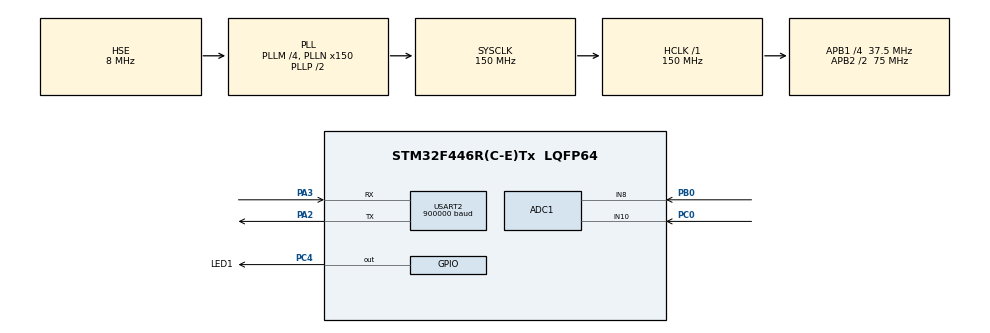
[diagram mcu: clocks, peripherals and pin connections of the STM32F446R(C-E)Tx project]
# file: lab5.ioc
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ADC1.Channel-11\#ChannelRegularConversion=ADC_CHANNEL_10
ADC1.Channel-12\#ChannelRegularConversion=ADC_CHANNEL_8
ADC1.InjNumberOfConversion=0
ADC1.NbrOfConversion=2
ADC1.NbrOfConversionFlag=1
ADC1.Rank-11\#ChannelRegularConversion=1
ADC1.Rank-12\#ChannelRegularConversion=2
ADC1.SamplingTime-11\#ChannelRegularConversion=ADC_SAMPLETIME_3CYCLES
ADC1.SamplingTime-12\#ChannelRegularConversion=ADC_SAMPLETIME_3CYCLES
ADC1.ScanConvMode=ENABLE
ADC1.master=1
Dma.ADC1.0.Direction=DMA_PERIPH_TO_MEMORY
Dma.ADC1.0.FIFOMode=DMA_FIFOMODE_DISABLE
Dma.ADC1.0.Instance=DMA2_Stream0
Dma.ADC1.0.MemDataAlignment=DMA_MDATAALIGN_HALFWORD
Dma.ADC1.0.MemInc=DMA_MINC_ENABLE
Dma.ADC1.0.Mode=DMA_NORMAL
Dma.ADC1.0.PeriphDataAlignment=DMA_PDATAALIGN_HALFWORD
Dma.ADC1.0.PeriphInc=DMA_PINC_DISABLE
Dma.ADC1.0.Priority=DMA_PRIORITY_LOW
Dma.Request0=ADC1
Mcu.Family=STM32F4
Mcu.Name=STM32F446R(C-E)Tx
Mcu.Package=LQFP64
NVIC.ADC_IRQn=true\:0\:0\:false\:false\:true\:true\:true\:true
NVIC.DMA2_Stream0_IRQn=true\:0\:0\:false\:false\:true\:false\:true\:true
NVIC.PriorityGroup=NVIC_PRIORITYGROUP_4
NVIC.TIM1_UP_TIM10_IRQn=true\:0\:0\:false\:false\:true\:true\:true\:true
NVIC.USART2_IRQn=true\:0\:0\:false\:false\:true\:true\:true\:true
PA2.Mode=Asynchronous
PA2.Signal=USART2_TX
PA3.Mode=Asynchronous
PA3.Signal=USART2_RX
PB0.Signal=ADCx_IN8
PC0.Signal=ADCx_IN10
PC4.GPIO_Label=LED1
PC4.Signal=GPIO_Output
PH0-OSC_IN.Mode=HSE-External-Oscillator
PH0-OSC_IN.Signal=RCC_OSC_IN
PH1-OSC_OUT.Mode=HSE-External-Oscillator
PH1-OSC_OUT.Signal=RCC_OSC_OUT
ProjectManager.HeapSize=0x200
ProjectManager.StackSize=0x400
ProjectManager.TargetToolchain=STM32CubeIDE
RCC.AHBFreq_Value=150000000
RCC.APB1CLKDivider=RCC_HCLK_DIV4
RCC.APB1Freq_Value=37500000
RCC.APB1TimFreq_Value=75000000
RCC.APB2CLKDivider=RCC_HCLK_DIV2
RCC.APB2Freq_Value=75000000
RCC.APB2TimFreq_Value=150000000
RCC.CortexFreq_Value=150000000
RCC.HCLKFreq_Value=150000000
RCC.HSE_VALUE=8000000
RCC.PLLM=4
RCC.PLLN=150
RCC.PLLSourceVirtual=RCC_PLLSOURCE_HSE
RCC.SYSCLKFreq_VALUE=150000000
RCC.SYSCLKSource=RCC_SYSCLKSOURCE_PLLCLK
RCC.USBFreq_Value=150000000
RCC.VCOOutputFreq_Value=300000000
SH.ADCx_IN10.0=ADC1_IN10,IN10
SH.ADCx_IN8.0=ADC1_IN8,IN8
TIM1.Period=99
TIM1.Prescaler=149
TIM1.TIM_MasterOutputTrigger=TIM_TRGO_UPDATE
USART2.BaudRate=900000
USART2.VirtualMode=VM_ASYNC
VP_TIM1_VS_ClockSourceINT.Mode=Internal
board=custom

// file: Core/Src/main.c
/* USER CODE BEGIN Header */
/**
  ******************************************************************************
  * @file           : main.c
  * @brief          : Main program body
  ******************************************************************************
  * @attention
  *
  * Copyright (c) 2024 STMicroelectronics.
  * All rights reserved.
  *
  * This software is licensed under terms that can be found in the LICENSE file
  * in the root directory of this software component.
  * If no LICENSE file comes with this software, it is provided AS-IS.
  *
  ******************************************************************************
  */
/* USER CODE END Header */
#include "main.h"

/* USER CODE BEGIN Includes */
#include <math.h>
#include <string.h>
#include <stdio.h>
/* USER CODE END Includes */

/* USER CODE BEGIN PD */
#define SAMPLE_RATE 10000
#define VREF 3.3

#define UART_RX_BUFFER_SIZE 5
#define UART_TX_BUFFER_SIZE 32

#define ADC_BUFFER_SIZE 2
/* USER CODE END PD */

ADC_HandleTypeDef hadc1;
DMA_HandleTypeDef hdma_adc1;

TIM_HandleTypeDef htim1;

UART_HandleTypeDef huart2;

/* USER CODE BEGIN PV */
uint8_t rx_buffer[UART_RX_BUFFER_SIZE];
uint8_t tx_buffer[UART_TX_BUFFER_SIZE];

uint16_t adc_buffer[ADC_BUFFER_SIZE];

volatile uint32_t potentiometer1 = 3;
volatile uint32_t potentiometer2 = 0;
/* USER CODE END PV */

void SystemClock_Config(void);
static void MX_GPIO_Init(void);
static void MX_DMA_Init(void);
static void MX_TIM1_Init(void);
static void MX_USART2_UART_Init(void);
static void MX_ADC1_Init(void);

int main(void)
{

  /* MCU Configuration--------------------------------------------------------*/

  /* Reset of all peripherals, Initializes the Flash interface and the Systick. */
  HAL_Init();

  /* Configure the system clock */
  SystemClock_Config();

  /* Initialize all configured peripherals */
  MX_GPIO_Init();
  MX_DMA_Init();
  MX_TIM1_Init();
  MX_USART2_UART_Init();
  MX_ADC1_Init();
  /* USER CODE BEGIN 2 */
  HAL_UART_Receive_IT(&huart2, rx_buffer, UART_RX_BUFFER_SIZE);
  if (HAL_ADC_Start_DMA(&hadc1, (uint32_t*)adc_buffer, ADC_BUFFER_SIZE) != HAL_OK) {
	  Error_Handler();
  }
  /* USER CODE END 2 */

  /* Infinite loop */
  while (1)
  {

  }
}

void SystemClock_Config(void)
{
  RCC_OscInitTypeDef RCC_OscInitStruct = {0};
  RCC_ClkInitTypeDef RCC_ClkInitStruct = {0};

  /** Configure the main internal regulator output voltage
  */
  __HAL_RCC_PWR_CLK_ENABLE();
  __HAL_PWR_VOLTAGESCALING_CONFIG(PWR_REGULATOR_VOLTAGE_SCALE1);

  /** Initializes the RCC Oscillators according to the specified parameters
  * in the RCC_OscInitTypeDef structure.
  */
  RCC_OscInitStruct.OscillatorType = RCC_OSCILLATORTYPE_HSE;
  RCC_OscInitStruct.HSEState = RCC_HSE_ON;
  RCC_OscInitStruct.PLL.PLLState = RCC_PLL_ON;
  RCC_OscInitStruct.PLL.PLLSource = RCC_PLLSOURCE_HSE;
  RCC_OscInitStruct.PLL.PLLM = 4;
  RCC_OscInitStruct.PLL.PLLN = 150;
  RCC_OscInitStruct.PLL.PLLP = RCC_PLLP_DIV2;
  RCC_OscInitStruct.PLL.PLLQ = 2;
  RCC_OscInitStruct.PLL.PLLR = 2;
  if (HAL_RCC_OscConfig(&RCC_OscInitStruct) != HAL_OK)
  {
    Error_Handler();
  }

  /** Initializes the CPU, AHB and APB buses clocks
  */
  RCC_ClkInitStruct.ClockType = RCC_CLOCKTYPE_HCLK|RCC_CLOCKTYPE_SYSCLK
                              |RCC_CLOCKTYPE_PCLK1|RCC_CLOCKTYPE_PCLK2;
  RCC_ClkInitStruct.SYSCLKSource = RCC_SYSCLKSOURCE_PLLCLK;
  RCC_ClkInitStruct.AHBCLKDivider = RCC_SYSCLK_DIV1;
  RCC_ClkInitStruct.APB1CLKDivider = RCC_HCLK_DIV4;
  RCC_ClkInitStruct.APB2CLKDivider = RCC_HCLK_DIV2;

  if (HAL_RCC_ClockConfig(&RCC_ClkInitStruct, FLASH_LATENCY_4) != HAL_OK)
  {
    Error_Handler();
  }
}

static void MX_ADC1_Init(void)
{

  ADC_ChannelConfTypeDef sConfig = {0};

  /** Configure the global features of the ADC (Clock, Resolution, Data Alignment and number of conversion)
  */
  hadc1.Instance = ADC1;
  hadc1.Init.ClockPrescaler = ADC_CLOCK_SYNC_PCLK_DIV4;
  hadc1.Init.Resolution = ADC_RESOLUTION_12B;
  hadc1.Init.ScanConvMode = ENABLE;
  hadc1.Init.ContinuousConvMode = DISABLE;
  hadc1.Init.DiscontinuousConvMode = DISABLE;
  hadc1.Init.ExternalTrigConvEdge = ADC_EXTERNALTRIGCONVEDGE_NONE;
  hadc1.Init.ExternalTrigConv = ADC_SOFTWARE_START;
  hadc1.Init.DataAlign = ADC_DATAALIGN_RIGHT;
  hadc1.Init.NbrOfConversion = 2;
  hadc1.Init.DMAContinuousRequests = DISABLE;
  hadc1.Init.EOCSelection = ADC_EOC_SINGLE_CONV;
  if (HAL_ADC_Init(&hadc1) != HAL_OK)
  {
    Error_Handler();
  }

  /** Configure for the selected ADC regular channel its corresponding rank in the sequencer and its sample time.
  */
  sConfig.Channel = ADC_CHANNEL_10;
  sConfig.Rank = 1;
  sConfig.SamplingTime = ADC_SAMPLETIME_3CYCLES;
  if (HAL_ADC_ConfigChannel(&hadc1, &sConfig) != HAL_OK)
  {
    Error_Handler();
  }

  /** Configure for the selected ADC regular channel its corresponding rank in the sequencer and its sample time.
  */
  sConfig.Channel = ADC_CHANNEL_8;
  sConfig.Rank = 2;
  if (HAL_ADC_ConfigChannel(&hadc1, &sConfig) != HAL_OK)
  {
    Error_Handler();
  }

}

static void MX_TIM1_Init(void)
{

  TIM_ClockConfigTypeDef sClockSourceConfig = {0};
  TIM_MasterConfigTypeDef sMasterConfig = {0};

  htim1.Instance = TIM1;
  htim1.Init.Prescaler = 149;
  htim1.Init.CounterMode = TIM_COUNTERMODE_UP;
  htim1.Init.Period = 99;
  htim1.Init.ClockDivision = TIM_CLOCKDIVISION_DIV1;
  htim1.Init.RepetitionCounter = 0;
  htim1.Init.AutoReloadPreload = TIM_AUTORELOAD_PRELOAD_DISABLE;
  if (HAL_TIM_Base_Init(&htim1) != HAL_OK)
  {
    Error_Handler();
  }
  sClockSourceConfig.ClockSource = TIM_CLOCKSOURCE_INTERNAL;
  if (HAL_TIM_ConfigClockSource(&htim1, &sClockSourceConfig) != HAL_OK)
  {
    Error_Handler();
  }
  sMasterConfig.MasterOutputTrigger = TIM_TRGO_UPDATE;
  sMasterConfig.MasterSlaveMode = TIM_MASTERSLAVEMODE_DISABLE;
  if (HAL_TIMEx_MasterConfigSynchronization(&htim1, &sMasterConfig) != HAL_OK)
  {
    Error_Handler();
  }
  /* USER CODE BEGIN TIM1_Init 2 */
	HAL_NVIC_SetPriority(TIM1_UP_TIM10_IRQn, 0, 0);
	HAL_NVIC_EnableIRQ(TIM1_UP_TIM10_IRQn);
	HAL_TIM_Base_Start_IT(&htim1);
  /* USER CODE END TIM1_Init 2 */

}

static void MX_USART2_UART_Init(void)
{

  huart2.Instance = USART2;
  huart2.Init.BaudRate = 900000;
  huart2.Init.WordLength = UART_WORDLENGTH_8B;
  huart2.Init.StopBits = UART_STOPBITS_1;
  huart2.Init.Parity = UART_PARITY_NONE;
  huart2.Init.Mode = UART_MODE_TX_RX;
  huart2.Init.HwFlowCtl = UART_HWCONTROL_NONE;
  huart2.Init.OverSampling = UART_OVERSAMPLING_16;
  if (HAL_UART_Init(&huart2) != HAL_OK)
  {
    Error_Handler();
  }

}

static void MX_DMA_Init(void)
{

  /* DMA controller clock enable */
  __HAL_RCC_DMA2_CLK_ENABLE();

  /* DMA interrupt init */
  /* DMA2_Stream0_IRQn interrupt configuration */
  HAL_NVIC_SetPriority(DMA2_Stream0_IRQn, 0, 0);
  HAL_NVIC_EnableIRQ(DMA2_Stream0_IRQn);

}

static void MX_GPIO_Init(void)
{
  GPIO_InitTypeDef GPIO_InitStruct = {0};

  /* GPIO Ports Clock Enable */
  __HAL_RCC_GPIOH_CLK_ENABLE();
  __HAL_RCC_GPIOC_CLK_ENABLE();
  __HAL_RCC_GPIOA_CLK_ENABLE();
  __HAL_RCC_GPIOB_CLK_ENABLE();

  /*Configure GPIO pin Output Level */
  HAL_GPIO_WritePin(LED1_GPIO_Port, LED1_Pin, GPIO_PIN_RESET);

  /*Configure GPIO pin : LED1_Pin */
  GPIO_InitStruct.Pin = LED1_Pin;
  GPIO_InitStruct.Mode = GPIO_MODE_OUTPUT_PP;
  GPIO_InitStruct.Pull = GPIO_NOPULL;
  GPIO_InitStruct.Speed = GPIO_SPEED_FREQ_LOW;
  HAL_GPIO_Init(LED1_GPIO_Port, &GPIO_InitStruct);

}

/* USER CODE BEGIN 4 */

void HAL_UART_RxCpltCallback(UART_HandleTypeDef *huart) {
    if (huart->Instance == USART2) {
        HAL_UART_Receive_IT(&huart2, rx_buffer, UART_RX_BUFFER_SIZE);
    }
}

void HAL_TIM_PeriodElapsedCallback(TIM_HandleTypeDef *htim) {
    if (htim->Instance == TIM1) {
    	if (HAL_ADC_Start_DMA(&hadc1, (uint32_t*)adc_buffer, ADC_BUFFER_SIZE) != HAL_OK) {
			  Error_Handler();
		  }
    }
}

void HAL_ADC_ConvCpltCallback(ADC_HandleTypeDef *hadc) {
    if(hadc->Instance == ADC1) {
    	potentiometer1 = adc_buffer[0];
    	potentiometer2 = adc_buffer[1];
    	snprintf((char*)tx_buffer, sizeof(tx_buffer), "p=%f m=%f\r\n", (double) adc_buffer[0],(double) adc_buffer[1]);
		HAL_UART_Transmit_IT(&huart2, tx_buffer, strlen((char*)tx_buffer));
    }
}

void HAL_ADC_ErrorCallback(ADC_HandleTypeDef *hadc) {
    // Отладочное сообщение для ошибок
	potentiometer1 = HAL_ADC_GetError(hadc);
}
/* USER CODE END 4 */

void Error_Handler(void)
{
  /* USER CODE BEGIN Error_Handler_Debug */
  /* User can add his own implementation to report the HAL error return state */
  __disable_irq();
  while (1)
  {
	  HAL_GPIO_TogglePin(LED1_GPIO_Port, LED1_Pin);
	  HAL_Delay(500);
  }
  /* USER CODE END Error_Handler_Debug */
}
